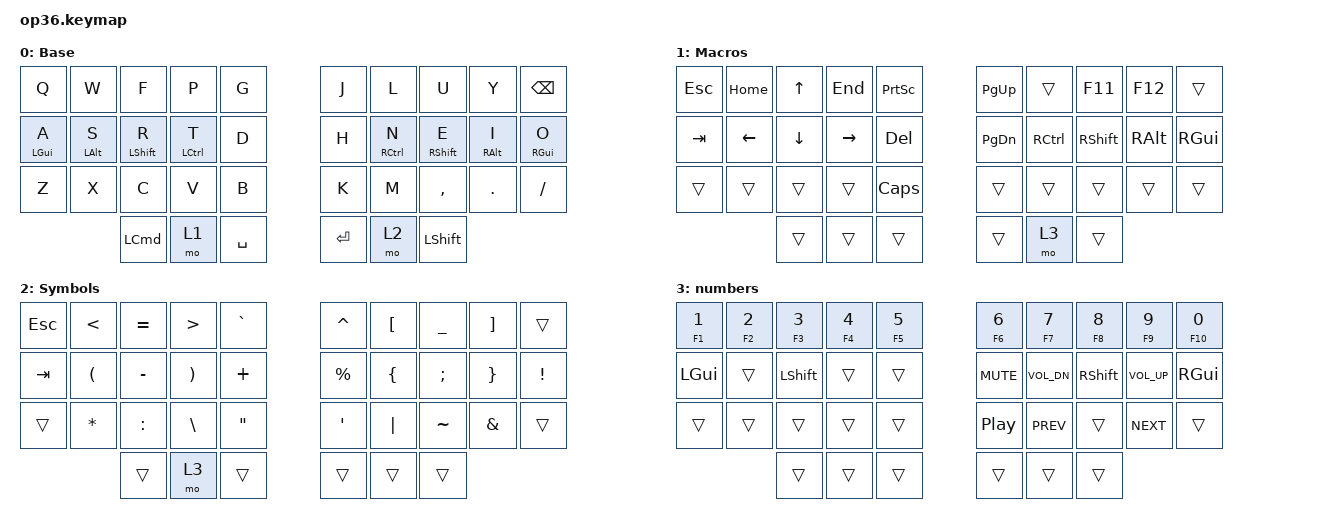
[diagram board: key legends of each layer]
#include "keys_ru.h"
#include <behaviors.dtsi>
#include <dt-bindings/zmk/keys.h>

&mt {
    quick-tap-ms = <200>;
    flavor = "tap-preferred";
    require-prior-idle-ms = <125>;
};

/ {
    behaviors {
        hml: home_row_mod_left {
            compatible = "zmk,behavior-hold-tap";
            #binding-cells = <2>;
            flavor = "balanced";
            require-prior-idle-ms = <150>;
            tapping-term-ms = <280>;
            quick-tap-ms = <175>;
            bindings = <&kp>, <&kp>;

            hold-trigger-key-positions = <5 6 7 8 9 15 16 17 18 19 25 26 27 28 29 33 34 35>;
            hold-trigger-on-release;
        };

        hmr: home_row_mod_right {
            compatible = "zmk,behavior-hold-tap";
            #binding-cells = <2>;
            flavor = "balanced";
            require-prior-idle-ms = <150>;
            tapping-term-ms = <280>;
            quick-tap-ms = <175>;
            bindings = <&kp>, <&kp>;

            hold-trigger-key-positions = <0 1 2 3 4 10 11 12 13 14 20 21 22 23 24 30 31 32>;
            hold-trigger-on-release;
        };

        tab_morph: tab_morph {
            compatible = "zmk,behavior-mod-morph";
            label = "TAB_MORPH";
            bindings = <&kp A>, <&kp TAB>;

            #binding-cells = <0>;
            mods = <(MOD_LGUI)>;
            keep-mods = <(MOD_LGUI)>;
        };

        escp_morph: escp_morph {
            compatible = "zmk,behavior-mod-morph";
            label = "ESCP_MORPH";
            bindings = <&kp Q>, <&kp ESC>;

            #binding-cells = <0>;
            mods = <(MOD_LGUI)>;
            keep-mods = <(MOD_LGUI)>;
        };

        alt_morph: alt_morph {
            compatible = "zmk,behavior-mod-morph";
            label = "ALT_MORPH";
            bindings = <&kp Z>, <&kp LEFT_ALT>;

            #binding-cells = <0>;
            mods = <(MOD_LGUI)>;
            keep-mods = <(MOD_LGUI)>;
        };

        a_morph: a_morph {
            compatible = "zmk,behavior-mod-morph";
            label = "A_MORPH";
            bindings = <&kp S>, <&kp A>;

            #binding-cells = <0>;
            mods = <(MOD_LGUI)>;
            keep-mods = <(MOD_LGUI)>;
        };
    };

    combos { compatible = "zmk,combos"; };

    macros {
        ru_en_toggle: ru_en_toggle {
            compatible = "zmk,behavior-macro";
            #binding-cells = <0>;
            bindings =
                <&macro_press>,
                <&kp LEFT_CONTROL>,
                <&macro_tap>,
                <&kp SPACE>,
                <&macro_release>,
                <&kp LEFT_CONTROL>;

            label = "RU_EN_TOGGLE";
        };

        copy: copy {
            compatible = "zmk,behavior-macro";
            #binding-cells = <0>;
            bindings =
                <&macro_press>,
                <&kp LEFT_COMMAND>,
                <&macro_tap>,
                <&kp C>,
                <&macro_release>,
                <&kp LEFT_COMMAND>;

            label = "COPY";
        };

        paste: paste {
            compatible = "zmk,behavior-macro";
            #binding-cells = <0>;
            bindings =
                <&macro_press>,
                <&kp LEFT_COMMAND>,
                <&macro_tap>,
                <&kp V>,
                <&macro_release>,
                <&kp LEFT_COMMAND>;

            label = "PASTE";
        };

        save: save {
            compatible = "zmk,behavior-macro";
            #binding-cells = <0>;
            bindings =
                <&macro_press>,
                <&kp LEFT_COMMAND>,
                <&macro_tap>,
                <&kp S>,
                <&macro_release>,
                <&kp LEFT_COMMAND>;

            label = "SAVE";
        };

        revert: revert {
            compatible = "zmk,behavior-macro";
            #binding-cells = <0>;
            bindings =
                <&macro_press>,
                <&kp LEFT_COMMAND>,
                <&macro_tap>,
                <&kp Z>,
                <&macro_release>,
                <&kp LEFT_COMMAND>;

            label = "REVERT";
        };

        macro_one: one {
            compatible = "zmk,behavior-macro";
            #binding-cells = <0>;
            bindings =
                <&macro_press>,
                <&kp LEFT_COMMAND>,
                <&macro_tap>,
                <&kp N1>,
                <&macro_release>,
                <&kp LEFT_COMMAND>;

            label = "ONE";
        };

        macro_zero: zero {
            compatible = "zmk,behavior-macro";
            #binding-cells = <0>;
            bindings =
                <&macro_press>,
                <&kp LEFT_COMMAND>,
                <&macro_tap>,
                <&kp N0>,
                <&macro_release>,
                <&kp LEFT_COMMAND>;

            label = "ZERO";
        };

        next_page: next_page {
            compatible = "zmk,behavior-macro";
            #binding-cells = <0>;
            bindings =
                <&macro_press>,
                <&kp LEFT_CONTROL>,
                <&macro_tap>,
                <&kp TAB>,
                <&macro_release>,
                <&kp LEFT_CONTROL>;

            label = "NEXT_PAGE";
        };

        prev_page: prev_page {
            compatible = "zmk,behavior-macro";
            #binding-cells = <0>;
            bindings =
                <&macro_press>,
                <&kp LEFT_CONTROL &kp LEFT_SHIFT>,
                <&macro_tap>,
                <&kp TAB>,
                <&macro_release>,
                <&kp LEFT_CONTROL &kp LEFT_SHIFT>;

            label = "PREV_PAGE";
        };

        pop_history: pop_history {
            compatible = "zmk,behavior-macro";
            #binding-cells = <0>;
            bindings =
                <&macro_press>,
                <&kp LEFT_COMMAND>,
                <&macro_tap>,
                <&kp LEFT_BRACKET>,
                <&macro_release>,
                <&kp LEFT_COMMAND>;

            label = "POP_HISTORY";
        };

        push_history: push_history {
            compatible = "zmk,behavior-macro";
            #binding-cells = <0>;
            bindings =
                <&macro_press>,
                <&kp LEFT_COMMAND>,
                <&macro_tap>,
                <&kp RIGHT_BRACKET>,
                <&macro_release>,
                <&kp LEFT_COMMAND>;

            label = "PUSH_HISTORY";
        };

        macro_two: two {
            compatible = "zmk,behavior-macro";
            #binding-cells = <0>;
            bindings =
                <&macro_press>,
                <&kp LEFT_COMMAND>,
                <&macro_tap>,
                <&kp N2>,
                <&macro_release>,
                <&kp LEFT_COMMAND>;

            label = "TWO";
        };

        select_word: select_word {
            compatible = "zmk,behavior-macro";
            #binding-cells = <0>;
            bindings =
                <&macro_press>,
                <&kp LEFT_COMMAND>,
                <&macro_tap>,
                <&kp D>,
                <&macro_release>,
                <&kp LEFT_COMMAND>;

            label = "SELECT_WORD";
        };

        macro_c: macro_c {
            compatible = "zmk,behavior-macro";
            #binding-cells = <0>;
            bindings =
                <&macro_press>,
                <&kp LEFT_CONTROL>,
                <&macro_tap>,
                <&kp C>,
                <&macro_release>,
                <&kp LEFT_CONTROL>;

            label = "MACRO_C";
        };
    };

    keymap {
        compatible = "zmk,keymap";

        base {
            bindings = <
  &kp Q            &kp W            &kp F              &kp P                &kp G                          &kp J  &kp L                 &kp U               &kp Y             &kp BACKSPACE
  &hml LEFT_GUI A  &hml LEFT_ALT S  &hml LEFT_SHIFT R  &hml LEFT_CONTROL T  &kp D                          &kp H  &hmr RIGHT_CONTROL N  &hmr RIGHT_SHIFT E  &hmr RIGHT_ALT I  &hmr RIGHT_GUI O
  &kp Z            &kp X            &kp C              &kp V                &kp B                          &kp K  &kp M                 &kp COMMA           &kp DOT           &kp FSLH
                                                       &kp LEFT_COMMAND     &mo 1  &kp SPACE    &kp ENTER  &mo 2  &kp LEFT_SHIFT
            >;

            display-name = "Base";
        };

        macros {
            bindings = <
  &kp ESC  &kp HOME  &kp UP    &kp END    &kp PRINTSCREEN                    &kp PAGE_UP    &trans             &kp F11          &kp F12        &trans
  &kp TAB  &kp LEFT  &kp DOWN  &kp RIGHT  &kp DELETE                         &kp PAGE_DOWN  &kp RIGHT_CONTROL  &kp RIGHT_SHIFT  &kp RIGHT_ALT  &kp RIGHT_GUI
  &trans   &trans    &trans    &trans     &kp CAPS                           &trans         &trans             &trans           &trans         &trans
                               &trans     &trans           &trans    &trans  &mo 3          &trans
            >;

            display-name = "Macros";
        };

        symbols {
            bindings = <
  &kp ESC  &kp LT                &kp EQUAL  &kp GT                 &kp GRAVE                            &kp CARET  &kp LBKT        &kp UNDER  &kp RBKT         &trans
  &kp TAB  &kp LEFT_PARENTHESIS  &kp MINUS  &kp RIGHT_PARENTHESIS  &kp PLUS                             &kp PRCNT  &kp LEFT_BRACE  &kp SEMI   &kp RIGHT_BRACE  &kp EXCLAMATION
  &trans   &kp ASTRK             &kp COLON  &kp BACKSLASH          &kp DOUBLE_QUOTES                    &kp SQT    &kp PIPE        &kp TILDE  &kp AMPS         &trans
                                            &trans                 &mo 3              &trans    &trans  &trans     &trans
            >;

            display-name = "Symbols";
        };

        numbers {
            bindings = <
  &hml F1 N1    &hml F2 N2  &hml F3 N3      &hml F4 N4  &hml F5 N5                    &hmr F6 N6        &hmr F7 N7    &hmr F8 N8       &hmr F9 N9    &hmr F10 N0
  &kp LEFT_GUI  &trans      &kp LEFT_SHIFT  &trans      &trans                        &kp C_MUTE        &kp C_VOL_DN  &kp RIGHT_SHIFT  &kp C_VOL_UP  &kp RIGHT_GUI
  &trans        &trans      &trans          &trans      &trans                        &kp C_PLAY_PAUSE  &kp C_PREV    &trans           &kp C_NEXT    &trans
                                            &trans      &trans      &trans    &trans  &trans            &trans
            >;
        };
    };
};
